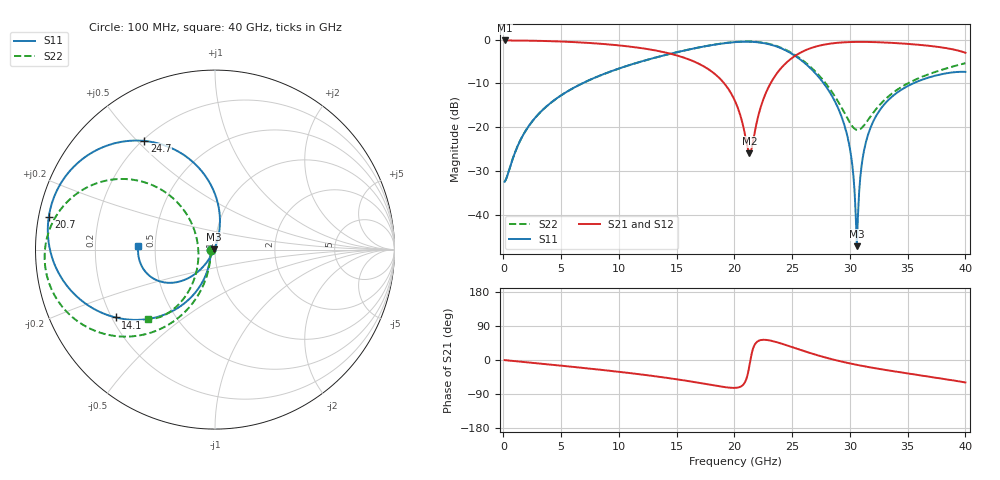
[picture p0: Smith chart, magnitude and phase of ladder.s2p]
! B_s8_L1L3_stub_d300: via ladder as kisi uses it (kisi_si::via_pbm, graded grid, junction model), ports at the via
# Hz S RI R 50
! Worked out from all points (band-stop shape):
!   400 points, 100 MHz to 40 GHz, reference 50 ohm
!   highest |S21| = -0.21 dB at 100 MHz (marker M1); lowest = -25.9 dB at 21.3 GHz (marker M2)
!   |S21| within 3 dB of the highest: start of sweep to 14.42 GHz; 25.57 GHz to end of sweep
!   lowest |S11| = -47.1 dB at 30.6 GHz (marker M3), VSWR 1.01, Z = 49.6 + j0.18 ohm
!   |S11| at or under -10 dB: start of sweep to 6.822 GHz; 27.73 GHz to 35.48 GHz (7.742 GHz wide, 24.5 % of centre)
!   |S22| runs from -32.4 to -0.4 dB; largest |S21 - S12| = 0
!   S11 on the Smith chart (normalised r, x): 100 MHz: 0.95, -0.01; 14.1 GHz: 0.22, -0.30; 20.7 GHz: 0.03, +0.10; 24.7 GHz: 0.21, +0.52; 40 GHz: 0.40, +0.02
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1e8  -0.0235 -0.00445  0.9765 -0.00504  0.9765 -0.00504  -0.0235 -0.00447
2.5e9  -0.0401 -0.1101  0.9617 -0.1252  0.9617 -0.1252  -0.0362 -0.1112
6.8e9  -0.1469 -0.2789  0.8659 -0.3251  0.8659 -0.3251  -0.1191 -0.2912
1.34e10  -0.5035 -0.3875  0.533 -0.514  0.533 -0.514  -0.4185 -0.4778
1.41e10  -0.5541 -0.3779  0.4835 -0.5167  0.4835 -0.5167  -0.4647 -0.4836
1.79e10  -0.8385 -0.1832  0.1859 -0.4038  0.1859 -0.4038  -0.76 -0.403
2.01e10  -0.9311 0.087  0.055 -0.1845  0.055 -0.1845  -0.916 -0.2086
2.07e10  -0.9265 0.1806  0.0434 -0.1019  0.0434 -0.1019  -0.94 -0.1307
2.13e10  -0.9024 0.278  0.0491 -0.0127  0.0491 -0.0127  -0.9493 -0.0439
2.27e10  -0.7584 0.4882  0.1452 0.1938  0.1452 0.1938  -0.8944 0.1713
2.47e10  -0.3938 0.6054  0.4589 0.3464  0.4589 0.3464  -0.6299 0.3786
2.67e10  -0.0828 0.4474  0.7699 0.2358  0.7699 0.2358  -0.3215 0.3463
2.85e10  0.0232 0.2196  0.9055 0.0252  0.9055 0.0252  -0.155 0.1923
2.97e10  0.021 0.0847  0.9262 -0.1145  0.9262 -0.1145  -0.1062 0.0791
3.03e10  0.00599 0.0276  0.9219 -0.1782  0.9219 -0.1782  -0.0958 0.0259
3.06e10  -0.00401 0.00181  0.9169 -0.2082  0.9169 -0.2082  -0.0933 0.000526
3.09e10  -0.0154 -0.0221  0.9104 -0.237  0.9104 -0.237  -0.0923 -0.0239
3.13e10  -0.0322 -0.0512  0.8995 -0.2733  0.8995 -0.2733  -0.0932 -0.055
3.21e10  -0.0705 -0.0999  0.8717 -0.3395  0.8717 -0.3395  -0.1011 -0.1121
3.34e10  -0.1402 -0.1545  0.8138 -0.4297  0.8138 -0.4297  -0.1261 -0.1906
3.7e10  -0.3368 -0.1648  0.6029 -0.5913  0.6029 -0.5913  -0.2358 -0.3356
4e10  -0.4274 0.0202  0.3611 -0.6078  0.3611 -0.6078  -0.3756 -0.385
